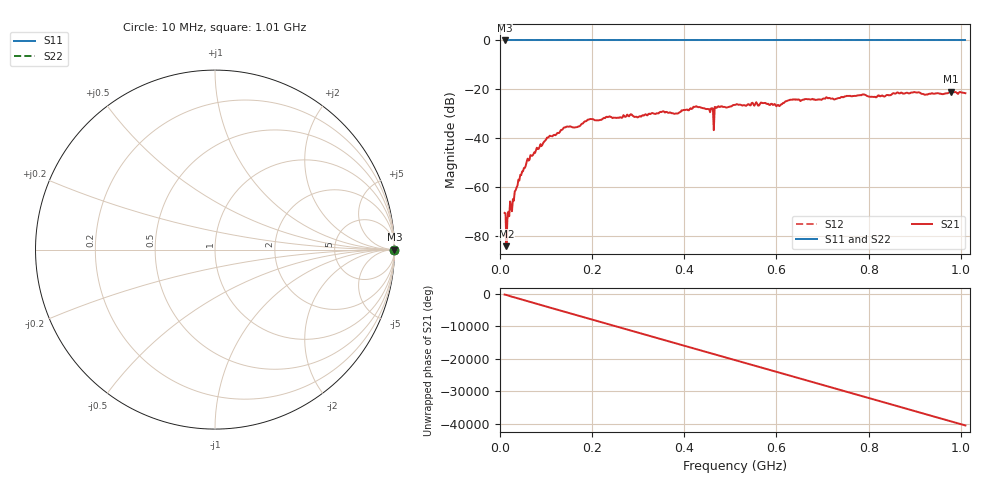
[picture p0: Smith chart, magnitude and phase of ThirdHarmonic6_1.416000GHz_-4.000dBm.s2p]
! 8/16/2025 4:15:18 PM
! C:\ANRITSUVNA\TEMP\TEMP.S2P
! CHANNEL.1
! TR.MEASUREMENT
! RAW.DATA
! RF.CORRECTION.OFF
! AVERAGING.OFF
! IF.BANDWIDTH: 5KHZ
! SWEEPTYPE:  FREQ.SWEEP(Linear)
! Reference Plane Port Info
! PORT:  PORT1  PORT2
! DISTANCE:  0  m  0  m
! TIME:  0  s  0  s
! PHASE.OFFSET:  0  deg.  0  deg.
! LOSS:  0  dB  0  dB
! REF.LOSS:  0  dB  0  dB
! REF.FREQ:  0  Hz  0  Hz
! Power Info
! POWER:  -20  dBm  -20  dBm
! EFF.POWER:  -20  dBm  -20  dBm
! SOURCE.ATTEN:  0  dB  0  dB
! TEST.ATTEN:  0  dB  0  dB
# GHZ S RI R 50.0
! FREQ.GHZ  S11RE  S11IM  S21RE  S21IM  S12RE  S12IM  S22RE  S22IM
!; PortSelection: Port_12
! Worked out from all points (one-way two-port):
!   501 points, 10 MHz to 1.01 GHz, reference 50 ohm
!   highest |S21| = -20.98 dB at 978 MHz (marker M1); lowest = -84.1 dB at 14 MHz (marker M2)
!   lowest |S11| = 0.0 dB at 10 MHz (marker M3)
!   |S11| at or under -10 dB: nowhere
!   |S22| runs from 0.0 to 0.0 dB; largest |S21 - S12| = 1.1
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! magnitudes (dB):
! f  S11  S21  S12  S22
! 10 MHz  0.0  -70.5  0.0  0.0
! 14 MHz  0.0  -84.1  0.0  0.0
! 18 MHz  0.0  -70.0  0.0  0.0
! 44 MHz  0.0  -54.9  0.0  0.0
! 64 MHz  0.0  -48.8  0.0  0.0
! 106 MHz  0.0  -39.4  0.0  0.0
! 178 MHz  0.0  -34.0  0.0  0.0
! 194 MHz  0.0  -32.2  0.0  0.0
! 344 MHz  0.0  -29.8  0.0  0.0
! 382 MHz  0.0  -29.9  0.0  0.0
! 424 MHz  0.0  -27.1  0.0  0.0
! 458 MHz  0.0  -27.8  0.0  0.0
! 460 MHz  0.0  -27.7  0.0  0.0
! 468 MHz  0.0  -27.3  0.0  0.0
! 470 MHz  0.0  -27.6  0.0  0.0
! 510 MHz  0.0  -26.3  0.0  0.0
! 604 MHz  0.0  -26.4  0.0  0.0
! 632 MHz  0.0  -24.2  0.0  0.0
! 678 MHz  0.0  -23.9  0.0  0.0
! 844 MHz  0.0  -22.4  0.0  0.0
! 978 MHz  0.0  -21.0  0.0  0.0
! 1.01 GHz  0.0  -21.6  0.0  0.0
